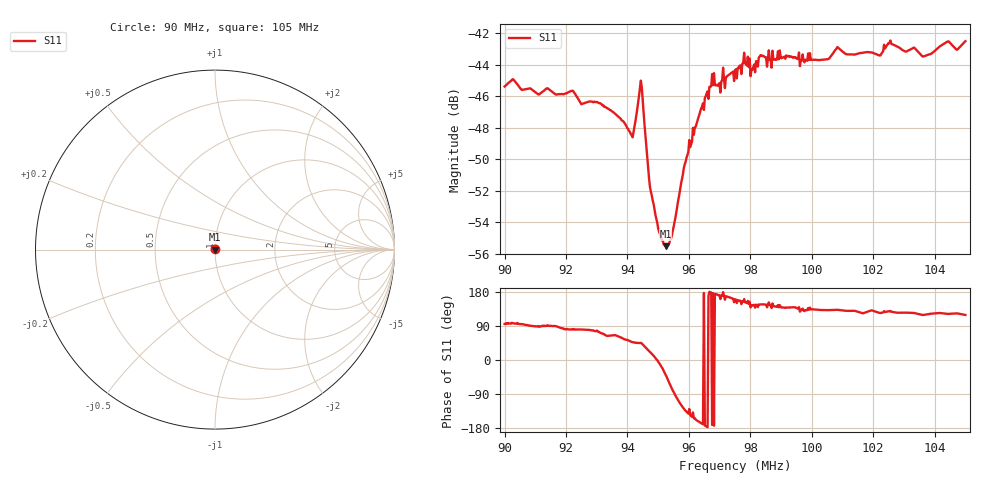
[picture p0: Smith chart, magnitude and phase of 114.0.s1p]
# HZ S RI R 50
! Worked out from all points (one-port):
!   505 points, 90 MHz to 105 MHz, reference 50 ohm
!   lowest |S11| = -55.5 dB at 95.24 MHz (marker M1), VSWR 1.00, Z = 50.1 - j0.104 ohm
!   |S11| at or under -10 dB: start of sweep to end of sweep
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9e7  -0.000486 0.00536
9.026786e7  -0.00068 0.00563
9.187501e7  0.000578 0.00506
9.220239e7  0.000774 0.00515
9.375001e7  0.00209 0.00372
9.416668e7  0.00253 0.00271
9.443454e7  0.00395 0.00399
9.449406e7  0.00368 0.00321
9.467263e7  0.00266 0.00131
9.476192e7  0.00236 0.000802
9.505954e7  0.00179 -0.000366
9.523811e7  0.00131 -0.00104
9.541668e7  0.00058 -0.00167
9.562502e7  -0.000504 -0.00219
9.59524e7  -0.00247 -0.00213
9.675597e7  -0.00582 -0.000875
9.696431e7  -0.00541 0.00081
9.750002e7  -0.00568 0.00207
9.785717e7  -0.0056 0.00301
9.80655e7  -0.00491 0.00358
9.836312e7  -0.00566 0.00369
9.937503e7  -0.00498 0.00439
1.0125e8  -0.00435 0.00523
1.022024e8  -0.0038 0.00558
1.025298e8  -0.00457 0.00579
1.03125e8  -0.00398 0.00574
1.036608e8  -0.00329 0.00585
1.05e8  -0.00362 0.00656
